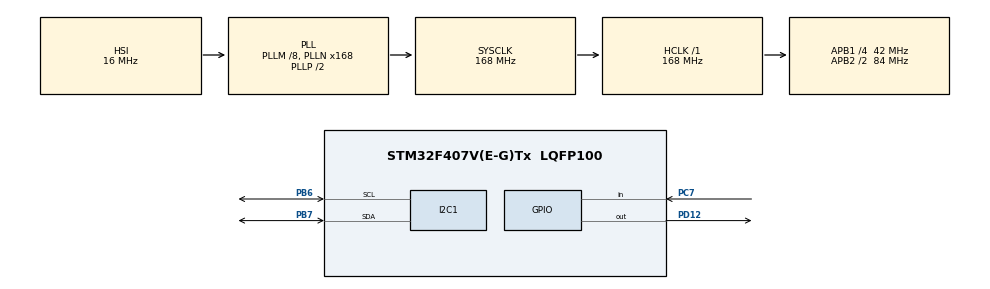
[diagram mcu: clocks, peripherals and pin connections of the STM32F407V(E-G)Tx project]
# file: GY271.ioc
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Mcu.Family=STM32F4
Mcu.Name=STM32F407V(E-G)Tx
Mcu.Package=LQFP100
NVIC.PriorityGroup=NVIC_PRIORITYGROUP_4
PB6.Mode=I2C
PB6.Signal=I2C1_SCL
PB7.Mode=I2C
PB7.Signal=I2C1_SDA
PC7.Signal=GPIO_Input
PD12.Signal=GPIO_Output
ProjectManager.HeapSize=0x200
ProjectManager.StackSize=0x400
ProjectManager.TargetToolchain=MDK-ARM V5.32
RCC.48MHZClocksFreq_Value=84000000
RCC.AHBFreq_Value=168000000
RCC.APB1CLKDivider=RCC_HCLK_DIV4
RCC.APB1Freq_Value=42000000
RCC.APB1TimFreq_Value=84000000
RCC.APB2CLKDivider=RCC_HCLK_DIV2
RCC.APB2Freq_Value=84000000
RCC.APB2TimFreq_Value=168000000
RCC.CortexFreq_Value=168000000
RCC.HCLKFreq_Value=168000000
RCC.HSE_VALUE=25000000
RCC.HSI_VALUE=16000000
RCC.LSE_VALUE=32768
RCC.PLLM=8
RCC.PLLN=168
RCC.SYSCLKFreq_VALUE=168000000
RCC.SYSCLKSource=RCC_SYSCLKSOURCE_PLLCLK
RCC.VCOOutputFreq_Value=336000000
board=custom

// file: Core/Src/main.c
/* USER CODE BEGIN Header */
/**
  ******************************************************************************
  * @file           : main.c
  * @brief          : Main program body
  ******************************************************************************
  * @attention
  *
  * Copyright (c) 2022 STMicroelectronics.
  * All rights reserved.
  *
  * This software is licensed under terms that can be found in the LICENSE file
  * in the root directory of this software component.
  * If no LICENSE file comes with this software, it is provided AS-IS.
  *
  ******************************************************************************
  */
/* USER CODE END Header */
#include "main.h"

I2C_HandleTypeDef hi2c1;

void SystemClock_Config(void);
static void MX_GPIO_Init(void);
static void MX_I2C1_Init(void);

/* USER CODE BEGIN 0 */

#define addGY271 0x1A
uint8_t i2cBuf[8];
uint8_t isSet = 0;
uint8_t isReady = 0x00;
uint8_t ax,ay,az;
float Xacc, Yacc, Zacc;

/* USER CODE END 0 */

int main(void)
{

  /* MCU Configuration--------------------------------------------------------*/

  /* Reset of all peripherals, Initializes the Flash interface and the Systick. */
  HAL_Init();

  /* Configure the system clock */
  SystemClock_Config();

  /* Initialize all configured peripherals */
  MX_GPIO_Init();
  MX_I2C1_Init();
  /* USER CODE BEGIN 2 */

	// Scanning for Address

	for(uint8_t i = 0; i < 255; i++){
		if(HAL_I2C_IsDeviceReady(&hi2c1, i, 1, HAL_MAX_DELAY) == HAL_OK){
			HAL_GPIO_TogglePin(GPIOD, GPIO_PIN_12);
			break;
		}
	}
	// Reset Device
	i2cBuf[0] = 0x0B;
	i2cBuf[1] = 0x01;

	HAL_I2C_Master_Transmit(&hi2c1, addGY271, i2cBuf, 2, 10);

	// 1. Writing Address to Work on Mode 1
	i2cBuf[0] = 0x09;
	i2cBuf[1] = 0x1D;

	HAL_I2C_Master_Transmit(&hi2c1, addGY271, i2cBuf, 2, 10);

	// 2. I2C Request Reading Register
	i2cBuf[0] = 0x06;
	HAL_I2C_Master_Transmit(&hi2c1, addGY271, i2cBuf, 1, 10);

	// 3. I2C Reading Response
	i2cBuf[1] = 0x00;
	HAL_I2C_Master_Receive(&hi2c1, addGY271, &i2cBuf[1], 1, 10);
	isReady = i2cBuf[1];

  /* USER CODE END 2 */

  /* Infinite loop */
  /* USER CODE BEGIN WHILE */
  while (1)
  {
			isSet = HAL_GPIO_ReadPin(GPIOC, GPIO_PIN_7);
    /* USER CODE END WHILE */

    /* USER CODE BEGIN 3 */

		// 1. Request X-axis data
			i2cBuf[0] = 0x00;
			HAL_I2C_Master_Transmit(&hi2c1, addGY271, i2cBuf, 1, 10);

		// 2. Read X-Axis Data
			i2cBuf[1] = 0x00;
			HAL_I2C_Master_Receive(&hi2c1, addGY271, &i2cBuf[1], 6, 10);

			ax = -(i2cBuf[1] << 8 | i2cBuf[2]);
			ay = -(i2cBuf[3] << 8 | i2cBuf[4]);
			az = (i2cBuf[5] << 8 | i2cBuf[6]);

			Xacc = ax/8192.0;
			Yacc = ay/8192.0;
			Zacc = az/8192.0;

  }
  /* USER CODE END 3 */
}

void SystemClock_Config(void)
{
  RCC_OscInitTypeDef RCC_OscInitStruct = {0};
  RCC_ClkInitTypeDef RCC_ClkInitStruct = {0};

  /** Configure the main internal regulator output voltage
  */
  __HAL_RCC_PWR_CLK_ENABLE();
  __HAL_PWR_VOLTAGESCALING_CONFIG(PWR_REGULATOR_VOLTAGE_SCALE1);

  /** Initializes the RCC Oscillators according to the specified parameters
  * in the RCC_OscInitTypeDef structure.
  */
  RCC_OscInitStruct.OscillatorType = RCC_OSCILLATORTYPE_HSI;
  RCC_OscInitStruct.HSIState = RCC_HSI_ON;
  RCC_OscInitStruct.HSICalibrationValue = RCC_HSICALIBRATION_DEFAULT;
  RCC_OscInitStruct.PLL.PLLState = RCC_PLL_ON;
  RCC_OscInitStruct.PLL.PLLSource = RCC_PLLSOURCE_HSI;
  RCC_OscInitStruct.PLL.PLLM = 8;
  RCC_OscInitStruct.PLL.PLLN = 168;
  RCC_OscInitStruct.PLL.PLLP = RCC_PLLP_DIV2;
  RCC_OscInitStruct.PLL.PLLQ = 4;
  if (HAL_RCC_OscConfig(&RCC_OscInitStruct) != HAL_OK)
  {
    Error_Handler();
  }

  /** Initializes the CPU, AHB and APB buses clocks
  */
  RCC_ClkInitStruct.ClockType = RCC_CLOCKTYPE_HCLK|RCC_CLOCKTYPE_SYSCLK
                              |RCC_CLOCKTYPE_PCLK1|RCC_CLOCKTYPE_PCLK2;
  RCC_ClkInitStruct.SYSCLKSource = RCC_SYSCLKSOURCE_PLLCLK;
  RCC_ClkInitStruct.AHBCLKDivider = RCC_SYSCLK_DIV1;
  RCC_ClkInitStruct.APB1CLKDivider = RCC_HCLK_DIV4;
  RCC_ClkInitStruct.APB2CLKDivider = RCC_HCLK_DIV2;

  if (HAL_RCC_ClockConfig(&RCC_ClkInitStruct, FLASH_LATENCY_5) != HAL_OK)
  {
    Error_Handler();
  }
}

static void MX_I2C1_Init(void)
{

  hi2c1.Instance = I2C1;
  hi2c1.Init.ClockSpeed = 100000;
  hi2c1.Init.DutyCycle = I2C_DUTYCYCLE_2;
  hi2c1.Init.OwnAddress1 = 0;
  hi2c1.Init.AddressingMode = I2C_ADDRESSINGMODE_7BIT;
  hi2c1.Init.DualAddressMode = I2C_DUALADDRESS_DISABLE;
  hi2c1.Init.OwnAddress2 = 0;
  hi2c1.Init.GeneralCallMode = I2C_GENERALCALL_DISABLE;
  hi2c1.Init.NoStretchMode = I2C_NOSTRETCH_DISABLE;
  if (HAL_I2C_Init(&hi2c1) != HAL_OK)
  {
    Error_Handler();
  }

}

static void MX_GPIO_Init(void)
{
  GPIO_InitTypeDef GPIO_InitStruct = {0};

  /* GPIO Ports Clock Enable */
  __HAL_RCC_GPIOD_CLK_ENABLE();
  __HAL_RCC_GPIOC_CLK_ENABLE();
  __HAL_RCC_GPIOB_CLK_ENABLE();

  /*Configure GPIO pin Output Level */
  HAL_GPIO_WritePin(GPIOD, GPIO_PIN_12, GPIO_PIN_RESET);

  /*Configure GPIO pin : PD12 */
  GPIO_InitStruct.Pin = GPIO_PIN_12;
  GPIO_InitStruct.Mode = GPIO_MODE_OUTPUT_PP;
  GPIO_InitStruct.Pull = GPIO_NOPULL;
  GPIO_InitStruct.Speed = GPIO_SPEED_FREQ_LOW;
  HAL_GPIO_Init(GPIOD, &GPIO_InitStruct);

  /*Configure GPIO pin : PC7 */
  GPIO_InitStruct.Pin = GPIO_PIN_7;
  GPIO_InitStruct.Mode = GPIO_MODE_INPUT;
  GPIO_InitStruct.Pull = GPIO_NOPULL;
  HAL_GPIO_Init(GPIOC, &GPIO_InitStruct);

}

void Error_Handler(void)
{
  __disable_irq();
  while (1)
  {
  }
}
